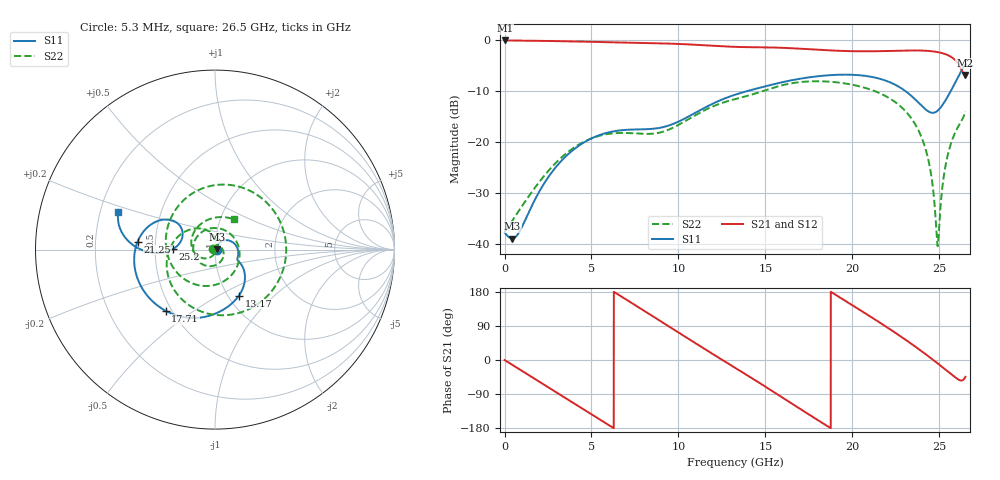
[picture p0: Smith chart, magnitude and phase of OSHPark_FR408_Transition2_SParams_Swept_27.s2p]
! TOUCHSTONE file generated by CST MICROWAVE STUDIO
! Date and time: Tue Jan  7 09:43:42 2020
! Project name: OSHPark_FR408_Transition2.cst
! Parameters = {GND_Plane_XMax=12.75; Cap_Disk_XOffset=0; Cap_Disk2_YCenter=-1.03; Cap_Disk_YCenter=1.03; Cap_Disk_XCenter=7.39; Cap_Disk_Radius=0.5; BottomSupport_Left_YMax=4.76; BottomSupport_Left_YMin=3.74; BottomSupport_Right_YMax=-3.74; BottomSupport_Right_YMin=-4.76; BottomSupport_XMax=11.64; 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
! Header version: 2015
! Port assignment regex: !\s*Touchstone port\s*([0-9]+)\s*=\s*CST MWS port\s*([0-9]+)\s*\(\"(.*)\"\)(\s*mode\s*([0-9]+))?.*
! Touchstone port assignment:
! Touchstone port 1 = CST MWS port 1 ("")
! Touchstone port 2 = CST MWS port 2 ("")
# GHz S MA R 50
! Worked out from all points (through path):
!   5000 points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, 5.3 MHz to 26.5 GHz, reference 50 ohm
!   highest |S21| = 0.00 dB at 10.6 MHz (marker M1); lowest = -6.8 dB at 26.46 GHz (marker M2)
!   group delay of S21, straight-line fit = 80.9 ps
!   lowest |S11| = -39.0 dB at 439.9 MHz (marker M3), VSWR 1.02, Z = 51.1 + j0.0862 ohm
!   |S11| at or under -10 dB: start of sweep to 13.92 GHz; 23.06 GHz to 25.65 GHz (2.587 GHz wide, 10.6 % of centre)
!   |S22| runs from -40.5 to -8.0 dB; largest |S21 - S12| = 0
!   S11 on the Smith chart (normalised r, x): 5.3 MHz: 1.02, -0.01; 13.17 GHz: 1.12, -0.63; 17.71 GHz: 0.46, -0.39; 21.25 GHz: 0.40, +0.04; 25.2 GHz: 0.62, +0.00; 26.5 GHz: 0.28, +0.18
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0.0053  0.01289 -22.5  0.9999 -0.2  0.9999 -0.2  0.01307 155.1
0.0106  0.01287 -22.7  0.9999 -0.3  0.9999 -0.3  0.0131 155.0
0.4399  0.01124 4.3  0.9984 -12.6  0.9984 -12.6  0.0168 114.0
2.5334  0.04562 56.9  0.9884 -72.7  0.9884 -72.7  0.05239 -23.2
4.4255  0.09584 30.8  0.9744 -126.9  0.9744 -126.9  0.09785 -109.1
6.5561  0.1298 -4.1  0.9572 172.2  0.9572 172.2  0.1229 160.1
8.8404  0.1373 -24.4  0.9387 106.4  0.9387 106.4  0.1231 41.1
11.2625  0.2068 -37.5  0.9015 36.1  0.9015 36.1  0.196 -89.3
13.1652  0.289 -62.6  0.8661 -18.0  0.8661 -18.0  0.2622 -168.5
13.2553  0.2924 -63.9  0.865 -20.6  0.865 -20.6  0.2647 -171.9
15.5078  0.372 -95.7  0.8518 -85.3  0.8518 -85.3  0.3449 104.9
17.6702  0.4372 -128.3  0.8166 -148.6  0.8166 -148.6  0.3962 12.8
17.7073  0.438 -128.9  0.8159 -149.7  0.8159 -149.7  0.3964 11.2
19.5464  0.4608 -158.0  0.7876 157.5  0.7876 157.5  0.3784 -67.2
21.2477  0.4332 174.1  0.7828 108.4  0.7828 108.4  0.3191 -135.6
22.0851  0.3924 160.8  0.788 83.5  0.788 83.5  0.273 -168.5
24.0514  0.2218 147.6  0.7947 20.9  0.7947 20.9  0.1034 107.0
24.5072  0.1954 158.1  0.7851 5.2  0.7851 5.2  0.05057 79.9
24.8888  0.2026 170.9  0.7688 -8.3  0.7688 -8.3  0.009669 -7.1
25.2015  0.2341 179.3  0.747 -19.7  0.747 -19.7  0.03916 -113.2
26.4629  0.5718 161.1  0.457 -47.4  0.457 -47.4  0.1915 68.5
26.5  0.5786 158.2  0.4609 -44.6  0.4609 -44.6  0.2009 55.4
